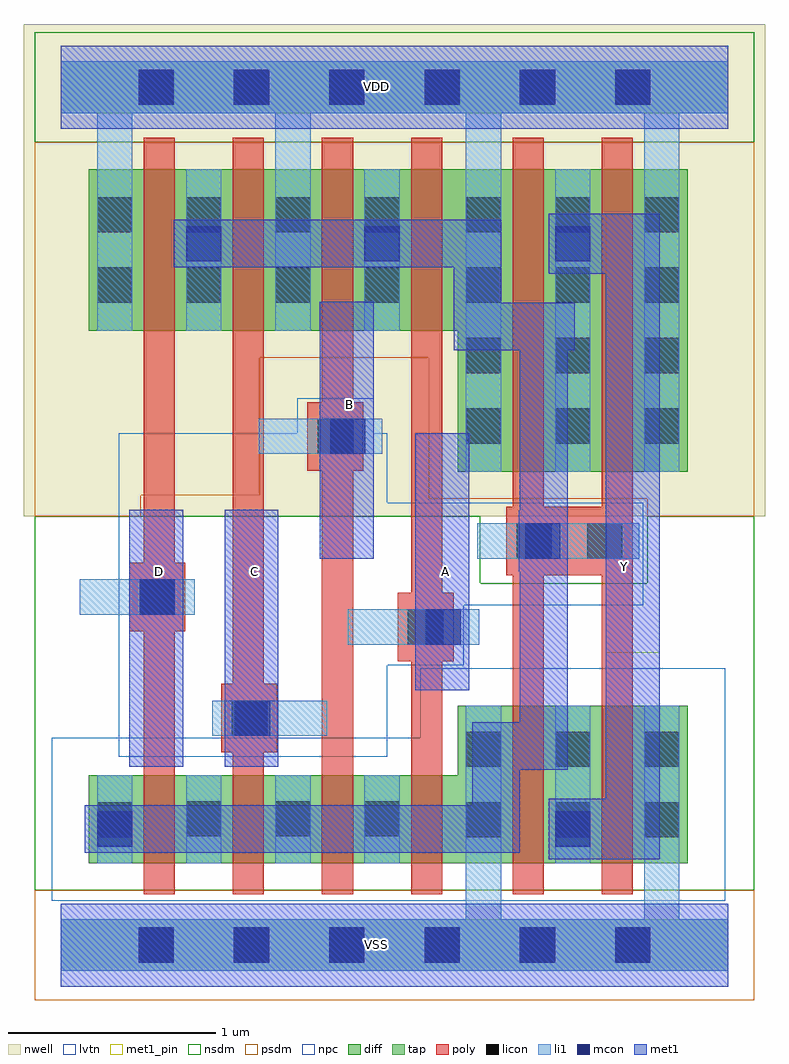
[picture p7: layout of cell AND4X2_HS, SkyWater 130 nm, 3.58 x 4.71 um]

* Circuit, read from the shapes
.subckt AND4X2_HS A B C D VDD VSS Y
XM1 n1 D n2 VSS sky130_fd_pr__nfet_01v8_lvt w=0.425 l=0.15
XM2 n3 C n1 VSS sky130_fd_pr__nfet_01v8_lvt w=0.425 l=0.15
XM3 n4 B n3 VSS sky130_fd_pr__nfet_01v8_lvt w=0.425 l=0.15
XM4 VSS A n4 VSS sky130_fd_pr__nfet_01v8_lvt w=0.425 l=0.15
XM5 Y n2 VSS VSS sky130_fd_pr__nfet_01v8_lvt w=0.76 l=0.15 m=2
XM6 n2 D VDD VDD sky130_fd_pr__pfet_01v8 w=0.78 l=0.15
XM7 VDD C n2 VDD sky130_fd_pr__pfet_01v8 w=0.78 l=0.15
XM8 n2 B VDD VDD sky130_fd_pr__pfet_01v8 w=0.78 l=0.15
XM9 VDD A n2 VDD sky130_fd_pr__pfet_01v8 w=0.78 l=0.15
XM10 Y n2 VDD VDD sky130_fd_pr__pfet_01v8 w=1.46 l=0.15 m=2
.ends

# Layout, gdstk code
from math import pi, radians
import gdstk
lib = gdstk.Library(unit=1e-6, precision=1e-09)
def R(c, l, rs):  # rectangles x0, y0, x1, y1
    for r in rs: c.add(gdstk.rectangle(r[:2], r[2:], *l))
def A(c, l, x, y, w, h, nx, ny, dx, dy):  # array of equal rectangles
    R(c, l, [(x+i*dx, y+j*dy, x+i*dx+w, y+j*dy+h) for i in range(nx) for j in range(ny)])
def P(c, l, *ps):  # polygons
    for p in ps: c.add(gdstk.Polygon(p, *l))
nwell = (64, 20)
diff = (65, 20)
tap = (65, 44)
poly = (66, 20)
licon = (66, 44)
li1 = (67, 20)
mcon = (67, 44)
met1_pin = (68, 16)
met1 = (68, 20)
nsdm = (93, 44)
psdm = (94, 20)
npc = (95, 20)
lvtn = (125, 44)

l1m1_c_cdns_750721774072 = lib.new_cell('L1M1_C_CDNS_750721774072')
R(l1m1_c_cdns_750721774072, li1, [(-0.085,-0.165,0.085,0.165)])
R(l1m1_c_cdns_750721774072, mcon, [(-0.085,-0.085,0.085,0.085)])
R(l1m1_c_cdns_750721774072, met1, [(-0.115,-0.145,0.115,0.145)])

l1m1_c_cdns_750721774071 = lib.new_cell('L1M1_C_CDNS_7507217740713')
R(l1m1_c_cdns_750721774071, li1, [(-0.085,-0.165,0.085,0.165)])
R(l1m1_c_cdns_750721774071, mcon, [(-0.085,-0.085,0.085,0.085)])
R(l1m1_c_cdns_750721774071, met1, [(-0.145,-0.115,0.145,0.115)])

l1m1_c_cdns_750721774074 = lib.new_cell('L1M1_C_CDNS_750721774074')
R(l1m1_c_cdns_750721774074, li1, [(-0.165,-0.085,0.165,0.085)])
R(l1m1_c_cdns_750721774074, mcon, [(-0.085,-0.085,0.085,0.085)])
R(l1m1_c_cdns_750721774074, met1, [(-0.115,-0.145,0.115,0.145)])

pyl1con_c_cdns_750721774 = lib.new_cell('PYL1CON_C_CDNS_750721774073')
R(pyl1con_c_cdns_750721774, poly, [(-0.135,-0.165,0.135,0.165)])
R(pyl1con_c_cdns_750721774, licon, [(-0.085,-0.085,0.085,0.085)])
R(pyl1con_c_cdns_750721774, npc, [(-0.185,-0.185,0.185,0.185)])

and4x2_hs = lib.new_cell('AND4X2_HS')
R(and4x2_hs, nwell, [(-0.18,2.07,3.4,4.305), (1.735,2.105,3.205,3.925), (-0.045,2.785,0.955,3.925), (0.595,2.785,1.215,3.925), (0.855,2.785,1.645,3.925), (1.285,2.785,2.095,3.925), (-0.18,3.875,3.4,4.445)])
A(and4x2_hs, diff, 0.4, 0.395, 0.15, 0.425, 4, 1, 0.43, 0)
A(and4x2_hs, diff, 0.55, 0.395, 0.225, 0.425, 3, 1, 0.43, 0)
A(and4x2_hs, diff, 0.775, 0.395, 0.055, 0.425, 3, 1, 0.43, 0)
A(and4x2_hs, diff, 0.4, 2.965, 0.15, 0.78, 4, 1, 0.43, 0)
R(and4x2_hs, diff, [(0.135,0.395,0.4,0.82), (1.84,0.395,1.915,0.82), (1.915,0.395,2.18,1.155), (2.18,0.395,2.33,1.155), (2.33,0.395,2.61,1.155), (2.61,0.395,2.76,1.155), (2.76,0.395,3.025,1.155), (1.915,2.285,2.18,3.745), (2.18,2.285,2.33,3.745), (2.33,2.285,2.61,3.745), (2.61,2.285,2.76,3.745), (2.76,2.285,3.025,3.745), (0.135,2.965,0.4,3.745), (0.55,2.965,0.775,3.745), (0.775,2.965,0.83,3.745), (0.98,2.965,1.035,3.745), (1.035,2.965,1.26,3.745), (1.41,2.965,1.465,3.745), (1.465,2.965,1.69,3.745), (1.84,2.965,1.915,3.745)])
A(and4x2_hs, poly, 0.4, 0.245, 0.15, 0.055, 4, 2, 0.43, 0.67)
A(and4x2_hs, poly, 0.4, 0.3, 0.15, 0.095, 4, 2, 0.43, 0.52)
A(and4x2_hs, poly, 0.4, 0.395, 0.15, 0.425, 4, 1, 0.43, 0)
A(and4x2_hs, poly, 0.4, 2.815, 0.15, 0.055, 4, 2, 0.43, 1.025)
A(and4x2_hs, poly, 0.4, 2.87, 0.15, 0.095, 4, 2, 0.43, 0.875)
A(and4x2_hs, poly, 0.4, 2.965, 0.15, 0.78, 4, 1, 0.43, 0)
R(and4x2_hs, poly, [(2.18,0.245,2.33,0.3), (2.61,0.245,2.76,0.3), (2.18,0.3,2.33,0.395), (2.61,0.3,2.76,0.395), (2.18,0.395,2.33,1.155), (2.61,0.395,2.76,1.155), (2.18,1.155,2.33,1.25), (2.61,1.155,2.76,1.25), (2.18,1.25,2.33,1.305), (2.61,1.25,2.76,1.305), (2.18,2.135,2.33,2.19), (2.61,2.135,2.76,2.19), (2.18,2.19,2.33,2.285), (2.61,2.19,2.76,2.285), (2.18,2.285,2.33,3.745), (2.61,2.285,2.76,3.745), (2.18,3.745,2.33,3.84), (2.61,3.745,2.76,3.84), (2.18,3.84,2.33,3.895), (2.61,3.84,2.76,3.895)])
A(and4x2_hs, licon, 0.375, -0.085, 0.17, 0.17, 6, 2, 0.46, 4.14)
A(and4x2_hs, licon, 1.955, 0.52, 0.17, 0.17, 3, 2, 0.43, 0.34)
A(and4x2_hs, licon, 0.605, 0.525, 0.17, 0.17, 3, 1, 0.43, 0)
A(and4x2_hs, licon, 1.955, 2.42, 0.17, 0.17, 3, 4, 0.43, 0.34)
A(and4x2_hs, licon, 0.175, 3.1, 0.17, 0.17, 4, 2, 0.43, 0.34)
R(and4x2_hs, licon, [(0.175,0.52,0.345,0.69)])
A(and4x2_hs, li1, 0.175, 0.395, 0.17, 0.425, 4, 1, 0.43, 0)
A(and4x2_hs, li1, 1.955, 0.395, 0.17, 0.76, 3, 1, 0.43, 0)
A(and4x2_hs, li1, 1.955, 2.285, 0.17, 1.46, 3, 1, 0.43, 0)
A(and4x2_hs, li1, 0.175, 2.965, 0.17, 0.78, 4, 1, 0.43, 0)
R(and4x2_hs, li1, [(1.98,3.285,1.99,3.335)])
A(and4x2_hs, mcon, 0.375, -0.085, 0.17, 0.17, 6, 2, 0.46, 4.14)
R(and4x2_hs, met1_pin, [(0.33,0.86,0.59,2.1), (0.79,0.86,1.05,2.1), (1.71,1.23,1.97,2.47), (2.63,1.41,2.89,3.53), (1.25,1.865,1.51,3.105)])
R(and4x2_hs, nsdm, [(-0.005,0.265,0.785,0.95), (0.765,0.265,1.215,0.95), (1.195,0.265,1.645,0.95), (1.625,0.265,1.795,0.95), (1.775,0.265,3.165,1.285), (-0.125,3.875,3.345,4.405), (-0.125,3.93,3.345,4.35)])
P(and4x2_hs, nsdm, [(3.345,2.07),(2.83,2.07),(2.83,1.745),(2.025,1.745),(2.025,2.07),(-0.125,2.07),(-0.125,0.265),(3.345,0.265)])
R(and4x2_hs, psdm, [(-0.125,-0.265,3.345,0.265), (-0.125,-0.21,3.345,0.21), (1.775,2.155,3.165,3.875), (-0.005,2.835,0.785,3.875), (0.765,2.835,1.045,3.875), (1.025,2.835,1.475,3.875), (1.455,2.835,1.795,3.875)])
P(and4x2_hs, psdm, [(3.345,3.875),(-0.125,3.875),(-0.125,2.07),(0.385,2.07),(0.385,2.17),(0.96,2.17),(0.96,2.835),(1.775,2.835),(1.775,2.155),(2.83,2.155),(2.83,2.07),(3.345,2.07)])
P(and4x2_hs, npc, [(2.81,2.135),(1.575,2.135),(1.575,2.47),(0.28,2.47),(0.28,0.91),(1.575,0.91),(1.575,1.64),(2.81,1.64)])
R(and4x2_hs, lvtn, [(-0.045,0.215,0.955,1), (0.595,0.215,1.385,1), (1.025,0.215,1.815,1), (1.455,0.215,2.095,1), (1.735,0.215,3.205,1.335)])
and4x2_hs.add(gdstk.FlexPath([(0,4.14),(3.22,4.14)], 0.4, ends="flush", simple_path=True, layer=68, datatype=16))  # met1_pin
and4x2_hs.add(gdstk.FlexPath([(0,0),(3.22,0)], 0.4, ends="flush", simple_path=True, layer=68, datatype=16))  # met1_pin
and4x2_hs.add(gdstk.FlexPath([(0,0),(3.22,0)], 0.25, ends="flush", simple_path=True, layer=65, datatype=44))  # tap
and4x2_hs.add(gdstk.FlexPath([(0,4.14),(3.22,4.14)], 0.25, ends="flush", simple_path=True, layer=65, datatype=44))  # tap
and4x2_hs.add(gdstk.FlexPath([(2.76,3.385),(2.47,3.385)], 0.29, ends="flush", simple_path=True, layer=68, datatype=20))  # met1
and4x2_hs.add(gdstk.FlexPath([(2.745,0.545),(2.745,0.56)], 0.29, ends=(0, 0.145), simple_path=True, layer=68, datatype=20))  # met1
and4x2_hs.add(gdstk.FlexPath([(2.01,3.385),(2.01,2.985)], 0.23, ends="extended", simple_path=True, layer=68, datatype=20))  # met1
and4x2_hs.add(gdstk.FlexPath([(2.01,2.985),(2.365,2.985)], 0.23, ends="extended", simple_path=True, layer=68, datatype=20))  # met1
and4x2_hs.add(gdstk.FlexPath([(0,4.14),(3.22,4.14)], 0.4, ends="flush", simple_path=True, layer=68, datatype=20))  # met1
and4x2_hs.add(gdstk.FlexPath([(2.1,0.56),(1.965,0.56)], 0.23, ends=(0.115, 0), simple_path=True, layer=68, datatype=20))  # met1
and4x2_hs.add(gdstk.FlexPath([(2.1,0.96),(2.1,0.56)], 0.23, ends="extended", simple_path=True, layer=68, datatype=20))  # met1
and4x2_hs.add(gdstk.FlexPath([(0.46,0.86),(0.46,2.1)], 0.26, ends="flush", simple_path=True, layer=68, datatype=20))  # met1
and4x2_hs.add(gdstk.FlexPath([(0.92,0.86),(0.92,2.1)], 0.26, ends="flush", simple_path=True, layer=68, datatype=20))  # met1
and4x2_hs.add(gdstk.FlexPath([(2.33,2.985),(2.33,1.185)], 0.23, ends="extended", simple_path=True, layer=68, datatype=20))  # met1
and4x2_hs.add(gdstk.FlexPath([(1.84,1.23),(1.84,2.47)], 0.26, ends="flush", simple_path=True, layer=68, datatype=20))  # met1
and4x2_hs.add(gdstk.FlexPath([(2.76,3.53),(2.76,0.74)], 0.26, ends=(0, 0.13), simple_path=True, layer=68, datatype=20))  # met1
and4x2_hs.add(gdstk.FlexPath([(2.745,0.56),(2.455,0.56)], 0.29, ends=(0.145, 0), simple_path=True, layer=68, datatype=20))  # met1
and4x2_hs.add(gdstk.FlexPath([(1.965,0.56),(2.01,0.56)], 0.23, ends=(0, 0.115), simple_path=True, layer=68, datatype=20))  # met1
and4x2_hs.add(gdstk.FlexPath([(0,0),(3.22,0)], 0.4, ends="flush", simple_path=True, layer=68, datatype=20))  # met1
and4x2_hs.add(gdstk.FlexPath([(0.69,3.385),(2.01,3.385)], 0.23, ends=(0, 0.115), simple_path=True, layer=68, datatype=20))  # met1
and4x2_hs.add(gdstk.FlexPath([(1.38,1.865),(1.38,3.105)], 0.26, ends="flush", simple_path=True, layer=68, datatype=20))  # met1
and4x2_hs.add(gdstk.FlexPath([(2.33,0.96),(2.1,0.96)], 0.23, ends="extended", simple_path=True, layer=68, datatype=20))  # met1
and4x2_hs.add(gdstk.FlexPath([(2.01,0.56),(0.26,0.56)], 0.23, ends=(0.115, 0), simple_path=True, layer=68, datatype=20))  # met1
and4x2_hs.add(gdstk.FlexPath([(2.255,1.95),(2.255,2.135)], 0.15, ends=(0.165, 0), simple_path=True, layer=66, datatype=20))  # poly
and4x2_hs.add(gdstk.FlexPath([(2.255,1.95),(2.595,1.95)], 0.33, ends=(0.075, 0.165), simple_path=True, layer=66, datatype=20))  # poly
and4x2_hs.add(gdstk.FlexPath([(2.685,2.135),(2.685,0.855)], 0.15, ends="flush", simple_path=True, layer=66, datatype=20))  # poly
and4x2_hs.add(gdstk.FlexPath([(2.255,1.95),(2.15,1.95)], 0.33, ends=(0.075, 0), simple_path=True, layer=66, datatype=20))  # poly
and4x2_hs.add(gdstk.FlexPath([(2.255,1.305),(2.255,1.95)], 0.15, ends=(0, 0.165), simple_path=True, layer=66, datatype=20))  # poly
and4x2_hs.add(gdstk.FlexPath([(0.475,2.815),(0.475,0.97)], 0.15, ends="flush", simple_path=True, layer=66, datatype=20))  # poly
and4x2_hs.add(gdstk.FlexPath([(0.905,2.815),(0.905,0.97)], 0.15, ends="flush", simple_path=True, layer=66, datatype=20))  # poly
and4x2_hs.add(gdstk.FlexPath([(1.335,0.97),(1.335,2.93)], 0.15, ends="flush", simple_path=True, layer=66, datatype=20))  # poly
and4x2_hs.add(gdstk.FlexPath([(1.765,2.815),(1.765,0.97)], 0.15, ends="flush", simple_path=True, layer=66, datatype=20))  # poly
and4x2_hs.add(gdstk.FlexPath([(3.135,4.14),(2.04,4.14)], 0.25, ends=(0.085, 0.085), simple_path=True, layer=67, datatype=20))  # li1
and4x2_hs.add(gdstk.FlexPath([(2.04,3.55),(2.04,4.14)], 0.17, ends=(0, 0.125), simple_path=True, layer=67, datatype=20))  # li1
and4x2_hs.add(gdstk.FlexPath([(2.9,0.59),(2.9,0)], 0.17, ends="flush", simple_path=True, layer=67, datatype=20))  # li1
and4x2_hs.add(gdstk.FlexPath([(2.04,0.59),(2.04,0)], 0.17, ends="flush", simple_path=True, layer=67, datatype=20))  # li1
and4x2_hs.add(gdstk.FlexPath([(2.9,3.55),(2.9,4.195)], 0.17, ends="flush", simple_path=True, layer=67, datatype=20))  # li1
and4x2_hs.add(gdstk.FlexPath([(1.12,3.55),(1.12,4.155)], 0.17, ends="flush", simple_path=True, layer=67, datatype=20))  # li1
and4x2_hs.add(gdstk.FlexPath([(0.26,3.55),(0.26,4.155)], 0.17, ends="flush", simple_path=True, layer=67, datatype=20))  # li1
and4x2_hs.add(gdstk.FlexPath([(3.135,0),(0,0)], 0.25, ends=(0.085, 0), simple_path=True, layer=67, datatype=20))  # li1
and4x2_hs.add(gdstk.FlexPath([(1.285,1.095),(0.73,1.095)], 0.17, ends="flush", simple_path=True, layer=67, datatype=20))  # li1
and4x2_hs.add(gdstk.FlexPath([(2.01,1.95),(2.79,1.95)], 0.17, ends="flush", simple_path=True, layer=67, datatype=20))  # li1
and4x2_hs.add(gdstk.FlexPath([(2.02,1.535),(1.675,1.535)], 0.17, ends="flush", simple_path=True, layer=67, datatype=20))  # li1
and4x2_hs.add(gdstk.FlexPath([(0.955,2.455),(1.51,2.455)], 0.17, ends="flush", simple_path=True, layer=67, datatype=20))  # li1
and4x2_hs.add(gdstk.FlexPath([(2.04,4.14),(0,4.14)], 0.25, ends=(0.085, 0), simple_path=True, layer=67, datatype=20))  # li1
and4x2_hs.add(gdstk.FlexPath([(0.09,1.68),(0.645,1.68)], 0.17, ends="flush", simple_path=True, layer=67, datatype=20))  # li1
and4x2_hs.add(gdstk.FlexPath([(1.385,1.535),(1.94,1.535)], 0.17, ends="flush", simple_path=True, layer=67, datatype=20))  # li1
and4x2_hs.add(gdstk.Reference(l1m1_c_cdns_750721774072, (2.47,3.385)))
and4x2_hs.add(gdstk.Reference(l1m1_c_cdns_750721774072, (2.47,0.56)))
and4x2_hs.add(gdstk.Reference(l1m1_c_cdns_750721774071, (1.55,3.385)))
and4x2_hs.add(gdstk.Reference(l1m1_c_cdns_750721774071, (0.69,3.385)))
and4x2_hs.add(gdstk.Reference(l1m1_c_cdns_750721774074, (1.385,2.455), x_reflection=True))
and4x2_hs.add(gdstk.Reference(l1m1_c_cdns_750721774074, (0.925,1.095), x_reflection=True))
and4x2_hs.add(gdstk.Reference(l1m1_c_cdns_750721774074, (1.845,1.535), x_reflection=True))
and4x2_hs.add(gdstk.Reference(l1m1_c_cdns_750721774074, (2.325,1.95)))
and4x2_hs.add(gdstk.Reference(l1m1_c_cdns_750721774074, (0.26,0.56), rotation=pi/2, x_reflection=True))
and4x2_hs.add(gdstk.Reference(l1m1_c_cdns_750721774074, (0.465,1.68), x_reflection=True))
and4x2_hs.add(gdstk.Reference(pyl1con_c_cdns_750721774, (2.625,1.95)))
and4x2_hs.add(gdstk.Reference(pyl1con_c_cdns_750721774, (1.325,2.455), rotation=pi, x_reflection=True))
and4x2_hs.add(gdstk.Reference(pyl1con_c_cdns_750721774, (0.91,1.095), rotation=pi, x_reflection=True))
and4x2_hs.add(gdstk.Reference(pyl1con_c_cdns_750721774, (1.76,1.535)))
and4x2_hs.add(gdstk.Reference(pyl1con_c_cdns_750721774, (2.285,1.95)))
and4x2_hs.add(gdstk.Reference(pyl1con_c_cdns_750721774, (0.465,1.68)))
and4x2_hs.add(gdstk.Label('VSS', (1.525,0.005), layer=68, texttype=5))
and4x2_hs.add(gdstk.Label('B', (1.395,2.61), layer=68, texttype=5))
and4x2_hs.add(gdstk.Label('VDD', (1.525,4.145), layer=68, texttype=5))
and4x2_hs.add(gdstk.Label('A', (1.855,1.805), layer=68, texttype=5))
and4x2_hs.add(gdstk.Label('C', (0.935,1.805), layer=68, texttype=5))
and4x2_hs.add(gdstk.Label('Y', (2.72,1.825), layer=68, texttype=5))
and4x2_hs.add(gdstk.Label('D', (0.475,1.805), layer=68, texttype=5))

lib.write_gds('AND4X2_HS.gds')
